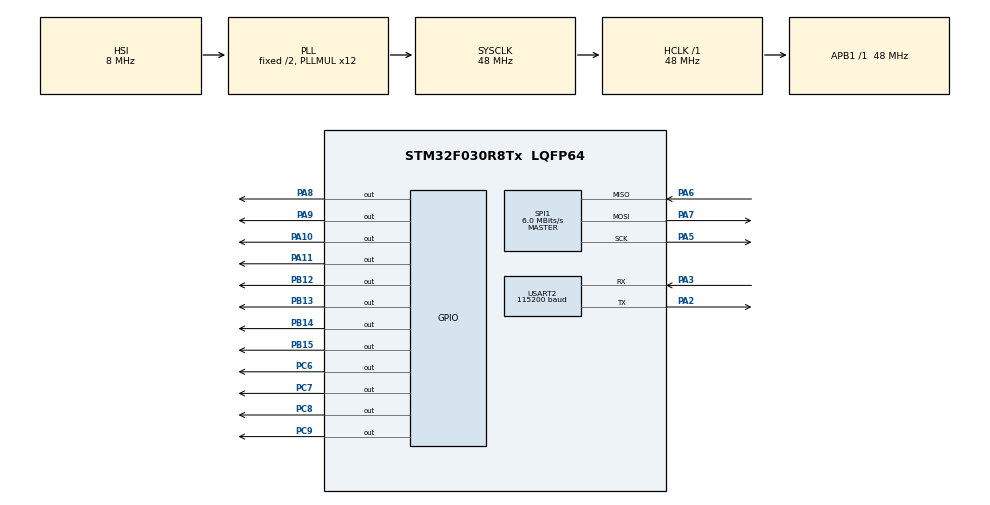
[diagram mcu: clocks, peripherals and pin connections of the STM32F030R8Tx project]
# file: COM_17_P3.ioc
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Dma.Request0=USART2_RX
Dma.Request1=USART2_TX
Dma.Request2=SPI1_RX
Dma.Request3=SPI1_TX
Dma.SPI1_RX.2.Direction=DMA_PERIPH_TO_MEMORY
Dma.SPI1_RX.2.Instance=DMA1_Channel2
Dma.SPI1_RX.2.MemDataAlignment=DMA_MDATAALIGN_BYTE
Dma.SPI1_RX.2.MemInc=DMA_MINC_ENABLE
Dma.SPI1_RX.2.Mode=DMA_NORMAL
Dma.SPI1_RX.2.PeriphDataAlignment=DMA_PDATAALIGN_BYTE
Dma.SPI1_RX.2.PeriphInc=DMA_PINC_DISABLE
Dma.SPI1_RX.2.Priority=DMA_PRIORITY_LOW
Dma.SPI1_TX.3.Direction=DMA_MEMORY_TO_PERIPH
Dma.SPI1_TX.3.Instance=DMA1_Channel3
Dma.SPI1_TX.3.MemDataAlignment=DMA_MDATAALIGN_BYTE
Dma.SPI1_TX.3.MemInc=DMA_MINC_ENABLE
Dma.SPI1_TX.3.Mode=DMA_NORMAL
Dma.SPI1_TX.3.PeriphDataAlignment=DMA_PDATAALIGN_BYTE
Dma.SPI1_TX.3.PeriphInc=DMA_PINC_DISABLE
Dma.SPI1_TX.3.Priority=DMA_PRIORITY_LOW
Dma.USART2_RX.0.Direction=DMA_PERIPH_TO_MEMORY
Dma.USART2_RX.0.Instance=DMA1_Channel5
Dma.USART2_RX.0.MemDataAlignment=DMA_MDATAALIGN_BYTE
Dma.USART2_RX.0.MemInc=DMA_MINC_ENABLE
Dma.USART2_RX.0.Mode=DMA_NORMAL
Dma.USART2_RX.0.PeriphDataAlignment=DMA_PDATAALIGN_BYTE
Dma.USART2_RX.0.PeriphInc=DMA_PINC_DISABLE
Dma.USART2_RX.0.Priority=DMA_PRIORITY_LOW
Dma.USART2_TX.1.Direction=DMA_MEMORY_TO_PERIPH
Dma.USART2_TX.1.Instance=DMA1_Channel4
Dma.USART2_TX.1.MemDataAlignment=DMA_MDATAALIGN_BYTE
Dma.USART2_TX.1.MemInc=DMA_MINC_ENABLE
Dma.USART2_TX.1.Mode=DMA_NORMAL
Dma.USART2_TX.1.PeriphDataAlignment=DMA_PDATAALIGN_BYTE
Dma.USART2_TX.1.PeriphInc=DMA_PINC_DISABLE
Dma.USART2_TX.1.Priority=DMA_PRIORITY_LOW
IWDG.Prescaler=IWDG_PRESCALER_256
IWDG.Reload=4090
IWDG.Window=4095
Mcu.Family=STM32F0
Mcu.Name=STM32F030R8Tx
Mcu.Package=LQFP64
NVIC.DMA1_Channel2_3_IRQn=true\:0\:0\:true\:false\:true\:false\:true\:true
NVIC.DMA1_Channel4_5_IRQn=true\:0\:0\:true\:false\:true\:false\:true\:true
NVIC.SPI1_IRQn=true\:0\:0\:false\:false\:true\:true\:true\:true
NVIC.USART2_IRQn=true\:0\:0\:false\:false\:true\:true\:true\:true
PA10.GPIO_PuPd=GPIO_PULLUP
PA10.PinState=GPIO_PIN_SET
PA10.Signal=GPIO_Output
PA11.GPIO_PuPd=GPIO_PULLUP
PA11.PinState=GPIO_PIN_SET
PA11.Signal=GPIO_Output
PA13.Mode=Serial_Wire
PA13.Signal=SYS_SWDIO
PA14.Mode=Serial_Wire
PA14.Signal=SYS_SWCLK
PA2.GPIO_PuPd=GPIO_PULLUP
PA2.GPIO_Speed=GPIO_SPEED_FREQ_HIGH
PA2.Mode=Asynchronous
PA2.Signal=USART2_TX
PA3.GPIO_PuPd=GPIO_PULLUP
PA3.GPIO_Speed=GPIO_SPEED_FREQ_HIGH
PA3.Mode=Asynchronous
PA3.Signal=USART2_RX
PA5.GPIO_PuPd=GPIO_PULLUP
PA5.GPIO_Speed=GPIO_SPEED_FREQ_HIGH
PA5.Mode=Full_Duplex_Master
PA5.Signal=SPI1_SCK
PA6.GPIO_PuPd=GPIO_PULLUP
PA6.GPIO_Speed=GPIO_SPEED_FREQ_HIGH
PA6.Mode=Full_Duplex_Master
PA6.Signal=SPI1_MISO
PA7.GPIO_PuPd=GPIO_PULLUP
PA7.GPIO_Speed=GPIO_SPEED_FREQ_HIGH
PA7.Mode=Full_Duplex_Master
PA7.Signal=SPI1_MOSI
PA8.GPIO_PuPd=GPIO_PULLUP
PA8.PinState=GPIO_PIN_SET
PA8.Signal=GPIO_Output
PA9.GPIO_PuPd=GPIO_PULLUP
PA9.PinState=GPIO_PIN_SET
PA9.Signal=GPIO_Output
PB12.GPIO_PuPd=GPIO_PULLUP
PB12.GPIO_Speed=GPIO_SPEED_FREQ_HIGH
PB12.PinState=GPIO_PIN_SET
PB12.Signal=GPIO_Output
PB13.GPIO_PuPd=GPIO_PULLUP
PB13.GPIO_Speed=GPIO_SPEED_FREQ_HIGH
PB13.PinState=GPIO_PIN_SET
PB13.Signal=GPIO_Output
PB14.GPIO_PuPd=GPIO_PULLUP
PB14.GPIO_Speed=GPIO_SPEED_FREQ_HIGH
PB14.PinState=GPIO_PIN_SET
PB14.Signal=GPIO_Output
PB15.GPIO_PuPd=GPIO_PULLUP
PB15.GPIO_Speed=GPIO_SPEED_FREQ_HIGH
PB15.PinState=GPIO_PIN_SET
PB15.Signal=GPIO_Output
PC6.GPIO_PuPd=GPIO_PULLUP
PC6.GPIO_Speed=GPIO_SPEED_FREQ_HIGH
PC6.PinState=GPIO_PIN_SET
PC6.Signal=GPIO_Output
PC7.GPIO_PuPd=GPIO_PULLUP
PC7.GPIO_Speed=GPIO_SPEED_FREQ_HIGH
PC7.PinState=GPIO_PIN_SET
PC7.Signal=GPIO_Output
PC8.GPIO_PuPd=GPIO_PULLUP
PC8.GPIO_Speed=GPIO_SPEED_FREQ_HIGH
PC8.PinState=GPIO_PIN_SET
PC8.Signal=GPIO_Output
PC9.GPIO_PuPd=GPIO_PULLUP
PC9.GPIO_Speed=GPIO_SPEED_FREQ_HIGH
PC9.PinState=GPIO_PIN_SET
PC9.Signal=GPIO_Output
ProjectManager.HeapSize=0x200
ProjectManager.StackSize=0x400
ProjectManager.TargetToolchain=STM32CubeIDE
RCC.AHBFreq_Value=48000000
RCC.APB1Freq_Value=48000000
RCC.APB1TimFreq_Value=48000000
RCC.HCLKFreq_Value=48000000
RCC.PLLMUL=RCC_PLL_MUL12
RCC.SYSCLKFreq_VALUE=48000000
RCC.SYSCLKSource=RCC_SYSCLKSOURCE_PLLCLK
SPI1.BaudRatePrescaler=SPI_BAUDRATEPRESCALER_8
SPI1.CalculateBaudRate=6.0 MBits/s
SPI1.DataSize=SPI_DATASIZE_8BIT
SPI1.Direction=SPI_DIRECTION_2LINES
SPI1.Mode=SPI_MODE_MASTER
SPI1.VirtualType=VM_MASTER
USART2.BaudRate=115200
USART2.SwapParam=ADVFEATURE_SWAP_DISABLE
USART2.VirtualMode-Asynchronous=VM_ASYNC
VP_IWDG_VS_IWDG.Mode=IWDG_Activate
board=custom

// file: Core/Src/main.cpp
#include "main.h"
#include <spiDevice.h>
#include <timer.h>

IWDG_HandleTypeDef hiwdg;

SPI_HandleTypeDef hspi1;
DMA_HandleTypeDef hdma_spi1_rx;
DMA_HandleTypeDef hdma_spi1_tx;

UART_HandleTypeDef huart2;
DMA_HandleTypeDef hdma_usart2_rx;
DMA_HandleTypeDef hdma_usart2_tx;

#define UART_SPEED 				115200	//Скорость UART

#define UART_TX_PERIOD_MS 		1500	//Период выдачи по UART (мс)
#define UART_TX_MIN_PERIOD_MS 	3		//Минимальный период выдачи по UART (мс)
#define UART_TX_AFTER_EVENT_MS	40000	//Время выдачи по UART после события ТС (мс)

#define HEADER_BYTE_0 			0x55
#define HEADER_BYTE_1 			0xAA
#define UART_RX_BUFF_SIZE 		51 		// Размер приемного буффера, безбайт контрольной суммы
#define UART_RX_SIZE_BYTE 		0x30

uint8_t spiDeviceNum { 0 };

State spiTxRxState = READY;
State uartRxState = READY;
State uartTxState = READY;

Timer uartTxMinPeriodTim(UART_TX_MIN_PERIOD_MS);
Timer uartTxPeriodTim(UART_TX_PERIOD_MS);
Timer uartTxAfterEventTim(UART_TX_AFTER_EVENT_MS);

uint8_t uartRxBuff[16] { 0 };
uint8_t currentUartRxBuffIndex { 0 };

SpiDevice spiDevice[17];

uint8_t iwdgFlag { 1 };
/* USER CODE END PV */

void SystemClock_Config(void);
static void MX_GPIO_Init(void);
static void MX_DMA_Init(void);
static void MX_USART2_UART_Init(void);
static void MX_SPI1_Init(void);
static void MX_IWDG_Init(void);

/* USER CODE BEGIN 0 */
void USART1_IRQHandler() {
	if (READ_BIT(USART1->ISR, USART_ISR_RTOF) != 0 && uartRxState[uartRxBuffIndex] == BUSY) {
		uartRxState[uartRxBuffIndex] = READY;
		CLEAR_BIT(DMA1_Channel2->CCR, DMA_CCR_EN);
		DMA1_Channel3->CMAR = (uint32_t)(uartRxBuffPtr[uartRxBuffIndex]);
		DMA1_Channel2->CNDTR = 53;
		SET_BIT(DMA1_Channel2->CCR, DMA_CCR_EN);
		SET_BIT(USART1->ICR, USART_ICR_RTOCF);
	}
}

//SpiDevice::toggleCurrentBuffIndex(); После всех функций с неосновным буффером!!!!!!!!!!!!!!!!!!!!!!!!!!!!!!!!!!!!!!!!!!!!!!!!!!!!!!!!!!

void spiTxRx() {
	uint8_t currentBuffIndex = SpiDevice::getCurrentBuffIndex();
	uint8_t currentDeviceIndex = SpiDevice::getCurrentDeviceIndex();
	State txBuffState = SpiDevice::getTxBuffState(currentBuffIndex);
	State rxBuffState = SpiDevice::getRxBuffState(currentBuffIndex);
	if (spiTxRxState != READY &&
		txBuffState  != READY_FOR_SPI_TX_RX &&
		rxBuffState  != READY_FOR_SPI_TX_RX) {

		return;
	}
	SpiDevice::setTxBuffState(currentBuffIndex, IN_SPI_TX_RX);
	SpiDevice::setRxBuffState(currentBuffIndex, IN_SPI_TX_RX);

	spiTxRxState = BUSY;
	spiDevice[currentDeviceIndex].select();
	HAL_SPI_TransmitReceive_DMA(&hspi1, spiDevice[currentDeviceIndex].getTxBuffPtr(currentBuffIndex),
										spiDevice[currentDeviceIndex].getRxBuffPtr(currentBuffIndex), 8);
}

void HAL_SPI_TxRxCpltCallback(SPI_HandleTypeDef *hspi) {
	spiDevice[SpiDevice::getCurrentDeviceIndex()].deselect();
	SpiDevice::increaseCurrentDeviceIndex();
	uint8_t currentBuffIndex = SpiDevice::getCurrentBuffIndex();
	uint8_t currentDeviceIndex = SpiDevice::getCurrentDeviceIndex();

	if (currentDeviceIndex != spiDeviceNum) {
		spiDevice[currentDeviceIndex].select();
		HAL_SPI_TransmitReceive_DMA(&hspi1, spiDevice[currentDeviceIndex].getTxBuffPtr(currentBuffIndex),
											spiDevice[currentDeviceIndex].getRxBuffPtr(currentBuffIndex), 8);
	} else {
		SpiDevice::setCurrentDeviceIndex(0);
		spiTxRxState = READY;
		SpiDevice::setRxBuffState(currentBuffIndex, READY_FOR_PROCESSING);
		SpiDevice::setTxBuffState(currentBuffIndex, READY_FOR_UART_RX);
	}
}

void processSpiRxData() {
	uint8_t currentBuffIndex = SpiDevice::getCurrentBuffIndex() ^ 1;
	if (SpiDevice::getRxBuffState(currentBuffIndex) != READY_FOR_PROCESSING) {
		return;
	}
	SpiDevice::setRxBuffState(currentBuffIndex, IN_PROCESSING);

	for (uint8_t i = 0; i < spiDeviceNum; ++i) {
		// Проверка контрольной суммы принятых по SPI данных
		if (spiDevice[i].verifyRxChecksum(currentBuffIndex)) {
			uint8_t *buffPtr = spiDevice[i].getRxBuffPtr(currentBuffIndex);
			if (buffPtr[4] != 0) {
				spiDevice[i].setType((DeviceType) buffPtr[4]);
				spiDevice[i].isChanged(currentBuffIndex) ? spiDevice[i].setState(DATA_CHANGED) :
														   spiDevice[i].setState(ACTIVE);
			}
		}
	}
	SpiDevice::setRxBuffState(currentBuffIndex, READY_FOR_UART_TX);
}

void uartTx() {
	uint8_t currentBuffIndex = SpiDevice::getCurrentBuffIndex() ^ 1;
	if (uartTxState != READY &&
		SpiDevice::getRxBuffState(currentBuffIndex) != READY_FOR_UART_TX) {

		return;
	}
	SpiDevice::setRxBuffState(currentBuffIndex, IN_UART_TX);

	for (uint8_t i = 0; i < spiDeviceNum; ++i) {
		if (spiDevice[i].getState() == DATA_CHANGED) {
			SpiDevice::setCurrentDeviceIndex(i);
			currentDeviceIndex = i;
			break;
		}
	}
	if (spiDevice[currentDeviceIndex].getState() == DATA_CHANGED) {
		uartTxState = BUSY;
		HAL_UART_Transmit_DMA(&huart2, spiDevice[currentDeviceIndex].getRxBuffPtr(currentBuffIndex), 8);
	}
}

void HAL_UART_TxCpltCallback(UART_HandleTypeDef *huart) {
	SpiDevice::increaseCurrentDeviceIndex();
	uint8_t currentBuffIndex = SpiDevice::getCurrentBuffIndex() ^ 1;
	uint8_t currentDeviceIndex = SpiDevice::getCurrentDeviceIndex();

	for (uint8_t i = currentDeviceIndex; i < spiDeviceNum; ++i) {
		SpiDevice::setCurrentDeviceIndex(i);
		currentDeviceIndex = i;
		if (spiDevice[i].getState() == DATA_CHANGED) {
			break;
		}
	}
	if (currentDeviceIndex == spiDeviceNum) {
		SpiDevice::setCurrentDeviceIndex(0);
		SpiDevice::setRxBuffState(currentBuffIndex, READY_FOR_SPI_TX_RX);
		uartTxState = READY;
		return;
	}
	if (spiDevice[currentDeviceIndex].getState() == DATA_CHANGED) {
		HAL_UART_Transmit_DMA(&huart2, spiDevice[currentDeviceIndex].getRxBuffPtr(currentBuffIndex), 8);
	}
}

void uartRx() {
	uint8_t currentBuffPtr = uartRxBuff + 8;
	if (uartRxState != READY &&
		SpiDevice::getTxBuffState(currentBuffIndex) != READY_FOR_UART_RX) {

		return;
	}

	SpiDevice::setTxBuffState(currentBuffIndex, IN_UART_RX);
	uartRxState = BUSY;
	HAL_UART_Receive_DMA(&huart2, uartRxBuff, 8);
}

void HAL_UART_RxCpltCallback(UART_HandleTypeDef *huart) {
	uint8_t invUartRxBuffIndex = uartRxBuffIndex ^ 1;
	if (uartRxState[invUartRxBuffIndex] == READY) {
		uartRxState[uartRxBuffIndex] = READY;
		uartRxBuffIndex ^= 1;
	}
	uartRxState[uartRxBuffIndex] = BUSY;
	HAL_UART_Receive_DMA(&huart2, uartRxBuffPtr[uartRxBuffIndex], 53);
}

void processUartRxBuff() {
	uint8_t currentBuffPtr = uartRxBuff + 8;
		if (uartRxState != READY &&
			SpiDevice::getTxBuffState(currentBuffIndex) != READY_FOR_UART_RX) {

			return;
		}

}

void spiDeviceInit() {
	spiDevice[0].setCS(GPIOA, 11);
	spiDevice[1].setCS(GPIOA, 10);
	spiDevice[2].setCS(GPIOA, 9);
	spiDevice[3].setCS(GPIOA, 8);
	spiDevice[4].setCS(GPIOC, 9);
	spiDevice[5].setCS(GPIOC, 8);
	spiDevice[6].setCS(GPIOC, 7);
	spiDevice[7].setCS(GPIOC, 6);
	spiDevice[8].setCS(GPIOB, 15);
	spiDevice[9].setCS(GPIOB, 14);
	spiDevice[10].setCS(GPIOB, 13);
	spiDevice[11].setCS(GPIOB, 12);
	spiDevice[12].setCS(GPIOB, 14);
	spiDevice[13].setCS(GPIOB, 13);
	spiDevice[14].setCS(GPIOB, 12);
	spiDevice[15].setCS(GPIOB, 14);
	spiDevice[16].setCS(GPIOB, 13);
}
/* USER CODE END 0 */

int main(void)
{
  HAL_Init();
  SystemClock_Config();

  MX_GPIO_Init();
  MX_DMA_Init();
  MX_USART2_UART_Init();
  MX_SPI1_Init();
  MX_IWDG_Init();

  spiDeviceInit();

  spiDeviceNum = SpiDevice::getDevicesNumber();

  uartTxMinPeriodTim.start();
  uartTxPeriodTim.start();
  uartTxAfterEventTim.start();

  uartRxState[uartRxBuffIndex] = BUSY;
  HAL_UART_Receive_DMA(&huart2, uartRxBuffPtr[0], 53);

  spiTxRxState[spiTxRxBuffIndex] = BUSY;
  spiDevice[0].select();
  HAL_SPI_TransmitReceive_DMA(&hspi1, spiDevice[0].getTxBuffPtr(),
		  	  	  	  	  	  	  	  spiDevice[0].getRxBuffPtr(), 6);

  while (1)
  {
	  processUartRxBuff();
	  processSpiRxBuff();
	  transmitToUart();
  }
}

void SystemClock_Config(void)
{
  RCC_OscInitTypeDef RCC_OscInitStruct = {0};
  RCC_ClkInitTypeDef RCC_ClkInitStruct = {0};

  /** Initializes the RCC Oscillators according to the specified parameters
  * in the RCC_OscInitTypeDef structure.
  */
  RCC_OscInitStruct.OscillatorType = RCC_OSCILLATORTYPE_HSI|RCC_OSCILLATORTYPE_LSI;
  RCC_OscInitStruct.HSIState = RCC_HSI_ON;
  RCC_OscInitStruct.HSICalibrationValue = RCC_HSICALIBRATION_DEFAULT;
  RCC_OscInitStruct.LSIState = RCC_LSI_ON;
  RCC_OscInitStruct.PLL.PLLState = RCC_PLL_ON;
  RCC_OscInitStruct.PLL.PLLSource = RCC_PLLSOURCE_HSI;
  RCC_OscInitStruct.PLL.PLLMUL = RCC_PLL_MUL12;
  RCC_OscInitStruct.PLL.PREDIV = RCC_PREDIV_DIV1;
  if (HAL_RCC_OscConfig(&RCC_OscInitStruct) != HAL_OK)
  {
    Error_Handler();
  }

  /** Initializes the CPU, AHB and APB buses clocks
  */
  RCC_ClkInitStruct.ClockType = RCC_CLOCKTYPE_HCLK|RCC_CLOCKTYPE_SYSCLK
                              |RCC_CLOCKTYPE_PCLK1;
  RCC_ClkInitStruct.SYSCLKSource = RCC_SYSCLKSOURCE_PLLCLK;
  RCC_ClkInitStruct.AHBCLKDivider = RCC_SYSCLK_DIV1;
  RCC_ClkInitStruct.APB1CLKDivider = RCC_HCLK_DIV1;

  if (HAL_RCC_ClockConfig(&RCC_ClkInitStruct, FLASH_LATENCY_1) != HAL_OK)
  {
    Error_Handler();
  }
}

static void MX_IWDG_Init(void)
{

  hiwdg.Instance = IWDG;
  hiwdg.Init.Prescaler = IWDG_PRESCALER_256;
  hiwdg.Init.Window = 4095;
  hiwdg.Init.Reload = 4090;
  if (HAL_IWDG_Init(&hiwdg) != HAL_OK)
  {
    Error_Handler();
  }

}

static void MX_SPI1_Init(void)
{

  /* SPI1 parameter configuration*/
  hspi1.Instance = SPI1;
  hspi1.Init.Mode = SPI_MODE_MASTER;
  hspi1.Init.Direction = SPI_DIRECTION_2LINES;
  hspi1.Init.DataSize = SPI_DATASIZE_8BIT;
  hspi1.Init.CLKPolarity = SPI_POLARITY_LOW;
  hspi1.Init.CLKPhase = SPI_PHASE_1EDGE;
  hspi1.Init.NSS = SPI_NSS_SOFT;
  hspi1.Init.BaudRatePrescaler = SPI_BAUDRATEPRESCALER_8;
  hspi1.Init.FirstBit = SPI_FIRSTBIT_MSB;
  hspi1.Init.TIMode = SPI_TIMODE_DISABLE;
  hspi1.Init.CRCCalculation = SPI_CRCCALCULATION_DISABLE;
  hspi1.Init.CRCPolynomial = 7;
  hspi1.Init.CRCLength = SPI_CRC_LENGTH_DATASIZE;
  hspi1.Init.NSSPMode = SPI_NSS_PULSE_ENABLE;
  if (HAL_SPI_Init(&hspi1) != HAL_OK)
  {
    Error_Handler();
  }

}

static void MX_USART2_UART_Init(void)
{

  huart2.Instance = USART2;
  huart2.Init.BaudRate = 115200;
  huart2.Init.WordLength = UART_WORDLENGTH_8B;
  huart2.Init.StopBits = UART_STOPBITS_1;
  huart2.Init.Parity = UART_PARITY_NONE;
  huart2.Init.Mode = UART_MODE_TX_RX;
  huart2.Init.HwFlowCtl = UART_HWCONTROL_NONE;
  huart2.Init.OverSampling = UART_OVERSAMPLING_16;
  huart2.Init.OneBitSampling = UART_ONE_BIT_SAMPLE_DISABLE;
  huart2.AdvancedInit.AdvFeatureInit = UART_ADVFEATURE_NO_INIT;
  if (HAL_UART_Init(&huart2) != HAL_OK)
  {
    Error_Handler();
  }

}

static void MX_DMA_Init(void)
{

  /* DMA controller clock enable */
  __HAL_RCC_DMA1_CLK_ENABLE();

  /* DMA interrupt init */
  /* DMA1_Channel2_3_IRQn interrupt configuration */
  HAL_NVIC_SetPriority(DMA1_Channel2_3_IRQn, 0, 0);
  HAL_NVIC_EnableIRQ(DMA1_Channel2_3_IRQn);
  /* DMA1_Channel4_5_IRQn interrupt configuration */
  HAL_NVIC_SetPriority(DMA1_Channel4_5_IRQn, 0, 0);
  HAL_NVIC_EnableIRQ(DMA1_Channel4_5_IRQn);

}

static void MX_GPIO_Init(void)
{
  GPIO_InitTypeDef GPIO_InitStruct = {0};

  /* GPIO Ports Clock Enable */
  __HAL_RCC_GPIOA_CLK_ENABLE();
  __HAL_RCC_GPIOB_CLK_ENABLE();
  __HAL_RCC_GPIOC_CLK_ENABLE();

  /*Configure GPIO pin Output Level */
  HAL_GPIO_WritePin(GPIOB, GPIO_PIN_12|GPIO_PIN_13|GPIO_PIN_14|GPIO_PIN_15, GPIO_PIN_SET);

  /*Configure GPIO pin Output Level */
  HAL_GPIO_WritePin(GPIOC, GPIO_PIN_6|GPIO_PIN_7|GPIO_PIN_8|GPIO_PIN_9, GPIO_PIN_SET);

  /*Configure GPIO pin Output Level */
  HAL_GPIO_WritePin(GPIOA, GPIO_PIN_8|GPIO_PIN_9|GPIO_PIN_10|GPIO_PIN_11, GPIO_PIN_SET);

  /*Configure GPIO pins : PB12 PB13 PB14 PB15 */
  GPIO_InitStruct.Pin = GPIO_PIN_12|GPIO_PIN_13|GPIO_PIN_14|GPIO_PIN_15;
  GPIO_InitStruct.Mode = GPIO_MODE_OUTPUT_PP;
  GPIO_InitStruct.Pull = GPIO_PULLUP;
  GPIO_InitStruct.Speed = GPIO_SPEED_FREQ_HIGH;
  HAL_GPIO_Init(GPIOB, &GPIO_InitStruct);

  /*Configure GPIO pins : PC6 PC7 PC8 PC9 */
  GPIO_InitStruct.Pin = GPIO_PIN_6|GPIO_PIN_7|GPIO_PIN_8|GPIO_PIN_9;
  GPIO_InitStruct.Mode = GPIO_MODE_OUTPUT_PP;
  GPIO_InitStruct.Pull = GPIO_PULLUP;
  GPIO_InitStruct.Speed = GPIO_SPEED_FREQ_HIGH;
  HAL_GPIO_Init(GPIOC, &GPIO_InitStruct);

  /*Configure GPIO pins : PA8 PA9 PA10 PA11 */
  GPIO_InitStruct.Pin = GPIO_PIN_8|GPIO_PIN_9|GPIO_PIN_10|GPIO_PIN_11;
  GPIO_InitStruct.Mode = GPIO_MODE_OUTPUT_PP;
  GPIO_InitStruct.Pull = GPIO_PULLUP;
  GPIO_InitStruct.Speed = GPIO_SPEED_FREQ_LOW;
  HAL_GPIO_Init(GPIOA, &GPIO_InitStruct);

}

void Error_Handler(void)
{
  __disable_irq();
  while (1)
  {
  }
}
